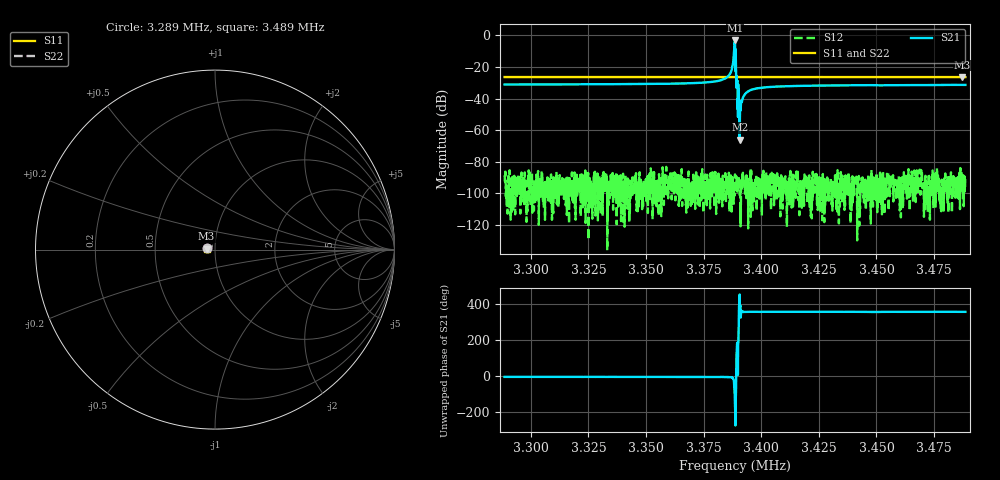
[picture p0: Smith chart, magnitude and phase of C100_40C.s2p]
# Hz S dB R 50.000
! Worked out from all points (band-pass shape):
!   6401 points, 3.289 MHz to 3.489 MHz, reference 50 ohm
!   highest |S21| = -3.31 dB at 3.389 MHz (marker M1); lowest = -65.9 dB at 3.391 MHz (marker M2)
!   |S21| within 3 dB of the highest: 3.388378 MHz to 3.388629 MHz (250.8 Hz wide, 0.0074 % of centre)
!   lowest |S11| = -26.5 dB at 3.487 MHz (marker M3), VSWR 1.10, Z = 45.5 + j0.471 ohm
!   |S11| at or under -10 dB: start of sweep to end of sweep
!   |S22| runs from -26.5 to -26.4 dB; largest |S21 - S12| = 0.68
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3288594  -26.44 172.0  -31.13 -4.1  -88.56 9.6  -26.40 166.8
3321938  -26.44 172.3  -31.04 -4.2  -98.54 -65.0  -26.41 167.1
3355282  -26.44 172.6  -30.74 -4.4  -92.40 58.3  -26.42 167.5
3374063  -26.44 172.7  -30.01 -4.3  -87.41 -28.7  -26.43 167.6
3382438  -26.45 172.8  -28.43 -4.4  -94.44 -16.0  -26.44 167.7
3385938  -26.44 172.9  -25.44 -5.9  -86.93 131.5  -26.43 167.7
3386906  -26.45 172.9  -23.02 -6.7  -93.24 -79.0  -26.43 167.8
3387438  -26.45 172.9  -19.81 -7.8  -94.27 8.6  -26.44 167.8
3387969  -26.45 172.9  -14.12 -20.2  -93.75 19.0  -26.43 167.8
3388594  -26.45 172.9  -3.31 -147.7  -88.00 7.4  -26.42 167.6
3389188  -26.44 172.9  -30.06 79.1  -90.57 6.9  -26.44 167.8
3389688  -26.45 172.9  -28.84 151.9  -92.40 -23.8  -26.44 167.7
3390032  -26.45 172.9  -33.13 -176.9  -94.05 113.4  -26.43 167.7
3390625  -26.44 172.9  -65.90 91.0  -90.87 58.3  -26.44 167.7
3391250  -26.45 172.9  -41.46 -5.1  -91.85 76.0  -26.44 167.8
3392094  -26.45 172.9  -39.22 -4.8  -91.04 34.2  -26.44 167.8
3393063  -26.45 172.9  -37.03 -4.8  -96.13 47.8  -26.43 167.8
3396563  -26.45 173.0  -34.09 -4.4  -93.39 83.0  -26.44 167.8
3421938  -26.45 173.2  -31.89 -4.4  -115.71 7.1  -26.45 168.1
3455282  -26.46 173.4  -31.62 -4.7  -110.82 -63.9  -26.47 168.4
3487188  -26.47 173.8  -31.42 -4.7  -88.65 16.8  -26.48 168.7
3488594  -26.47 173.7  -31.40 -4.7  -90.31 62.9  -26.48 168.6
